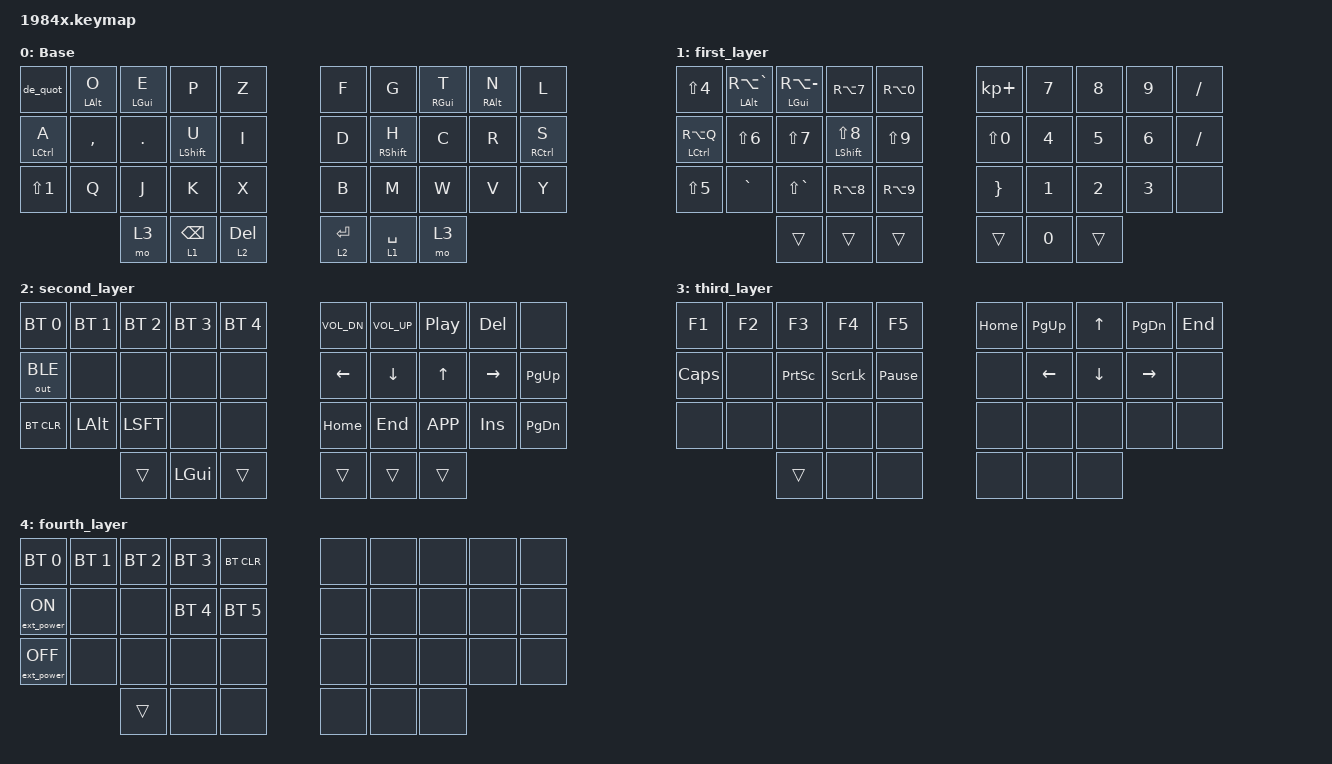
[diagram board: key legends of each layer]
/*
 * Copyright (c) 2020 The ZMK Contributors
 *
 * SPDX-License-Identifier: MIT
 */

#include <behaviors.dtsi>
#include <dt-bindings/zmk/keys.h>
#include <dt-bindings/zmk/bt.h>
#include <dt-bindings/zmk/outputs.h>
#include <dt-bindings/zmk/ext_power.h>

#define DEFAULT 0
#define L1 1  // NUMBERs, Special Chars
#define L2 2  // F1-12..
#define L3 3  // NAVI
#define L4 4  // BLUETOOTH

#define AUML APOS
#define OUML SEMI
#define UUML LBKT
#define DE_SS MINUS
#define DE_MINS SLASH
#define DE_DLLR LS(N4)
#define DE_PCNT LS(N5)
#define DE_AMPSD LS(N6)
#define DE_FSLH LS(N7)
#define DE_PLUS LS(RBRC)
#define DE_STAR RBRC
#define DE_EQUL LS(N0)
#define DE_AT RA(Q)
#define DE_HASH BSLH
#define DE_LT GRAVE //NON_US_BSLH
#define DE_GT LS(GRAVE) //LS(NON_US_BSLH)
#define DE_PIPE RA(GRAVE)
#define DE_BSLH RA(MINUS)
#define DE_EXCL LS(N1)

&lt {
    tapping-term-ms = <250>;
    quick_tap_ms = <150>;
    flavor = "tap-preferred";
};

&caps_word {
    continue-list = <UNDERSCORE DE_MINS BSPC DELETE>;
};

&mt {
  quick-tap-ms = <200>;
};

/ {

  behaviors {
    hm: homerow_mods {
        compatible = "zmk,behavior-hold-tap";
        label = "HOMEROW_MODS";
        require-prior-idle-ms = <200>;
        #binding-cells = <2>;
        bindings = <&kp>, <&kp>;
        tapping-term-ms = <200>;
        flavor = "tap-preferred";
    };
    hs: homerow_shift {
        compatible = "zmk,behavior-hold-tap";
        label = "HOMEROW_SHIFT";
        #binding-cells = <2>;
        bindings = <&kp>, <&kp>;
        tapping-term-ms = <160>;
        flavor = "balanced";
    };
    de_quot: german_quote_doublequote {
        compatible = "zmk,behavior-mod-morph";
        label = "DE_QUOTES";
        #binding-cells = <0>;
        bindings = <&kp LS(BSLH)>, <&kp LS(N2)>;
        mods = <(MOD_LSFT|MOD_RSFT)>;
    };
  };

  combos {
    compatible = "zmk,combos";

    #define COMBO(NAME, BINDINGS, KEYPOS, LAYERS) \
      combo_##NAME { \
        bindings = <BINDINGS>; \
        key-positions = <KEYPOS>; \
        layers = <LAYERS>; \
      };

    /*
      ╭─────────────────────╮  ╭─────────────────────╮
      │   0   1   2   3   4 │  │  5   6   7   8  9   │
      │  10  11  12  13  14 │  │ 15  16  17  18  19  │
      │  20  21  22  23  24 │  | 25  26  27  28  29  │
      ╰────────╮ 30  31  32 │  │ 33  34  35 ╭────────╯
               ╰────────────╯  ╰────────────╯
    */

    COMBO(caps_word, &caps_word, 13 16, DEFAULT)
    COMBO(auml, &kp AUML, 10 12, DEFAULT)
    COMBO(ouml, &kp OUML, 1 12, DEFAULT)
    COMBO(uuml, &kp UUML, 12 13, DEFAULT)
    COMBO(esc, &kp ESC, 1 2, DEFAULT)
    COMBO(tab, &kp TAB, 11 12, DEFAULT)
    COMBO(szuml, &kp DE_SS, 17 19, DEFAULT)
  };

  keymap {
    compatible = "zmk,keymap";

    default_layer {
      label = "Base";
      bindings = <
   &de_quot     &hm LALT O   &hm LGUI E   &kp P        &kp Z                &kp F        &kp G        &hm RGUI T   &hm RALT N   &kp L
   &hm LCTL A   &kp COMMA    &kp DOT      &hs LSHFT U  &kp I                &kp D        &hs RSHFT H  &kp C        &kp R        &hm RCTL S
   &kp DE_EXCL  &kp Q        &kp J        &kp K        &kp X                &kp B        &kp M        &kp W        &kp V        &kp Y
                             &mo L3       &lt L1 BSPC  &lt L2 DEL           &lt L2 ENTER &lt L1 SPACE &mo L3
      >;
    };

    first_layer {
      bindings = <
   &kp DE_DLLR    &hm LALT DE_PIPE &hm LGUI DE_BSLH &kp RA(N7)       &kp RA(N0)             &kp KP_PLUS  &kp N7    &kp N8      &kp N9     &kp DE_MINS
   &hm LCTL DE_AT &kp DE_AMPSD     &kp DE_FSLH      &hs LSHFT LS(N8) &kp LS(N9)             &kp DE_EQUL  &kp N4    &kp N5      &kp N6     &kp DE_MINS
   &kp DE_PCNT    &kp DE_LT        &kp DE_GT        &kp RA(N8)       &kp RA(N9)             &kp DE_STAR  &kp N1    &kp N2      &kp N3     &none
                                   &trans           &trans           &trans                 &trans       &kp N0    &trans
      >;
    };

    second_layer {
      bindings = <
   &bt BT_SEL 0 &bt BT_SEL 1 &bt BT_SEL 2 &bt BT_SEL 3 &bt BT_SEL 4        &kp C_VOL_DN &kp C_VOL_UP &kp C_PP     &kp DEL      &none        
   &out OUT_BLE &none        &none        &none        &none                &kp LEFT     &kp DOWN     &kp UP       &kp RIGHT    &kp PG_UP
   &bt BT_CLR   &kp LALT     &kp LSFT     &none        &none                &kp HOME     &kp END      &kp K_APP    &kp INS      &kp PG_DN
                             &trans       &kp LGUI     &trans               &trans       &trans       &trans
      >;
    };

    third_layer {
      bindings = <
   &kp F1       &kp F2       &kp F3       &kp F4       &kp F5               &kp HOME &kp PG_UP &kp UP   &kp PG_DN &kp END
   &kp CAPS     &none        &kp PSCRN    &kp SLCK     &kp PAUSE_BREAK      &none    &kp LEFT  &kp DOWN &kp RIGHT &none  
   &none        &none        &none        &none        &none                &none    &none     &none    &none     &none
                             &trans       &none        &none                &none    &none     &none
      >;
    };

    fourth_layer {
      bindings = <
   &bt BT_SEL 0 &bt BT_SEL 1 &bt BT_SEL 2 &bt BT_SEL 3 &bt BT_CLR           &none        &none        &none        &none        &none
   &ext_power EP_ON &none        &none        &bt BT_SEL 4  &bt BT_SEL 5    &none        &none        &none        &none        &none
   &ext_power EP_OFF &none       &none        &none        &none            &none        &none        &none        &none        &none
                                 &trans       &none        &none            &none        &none        &none
      >;
    };

  };
};

